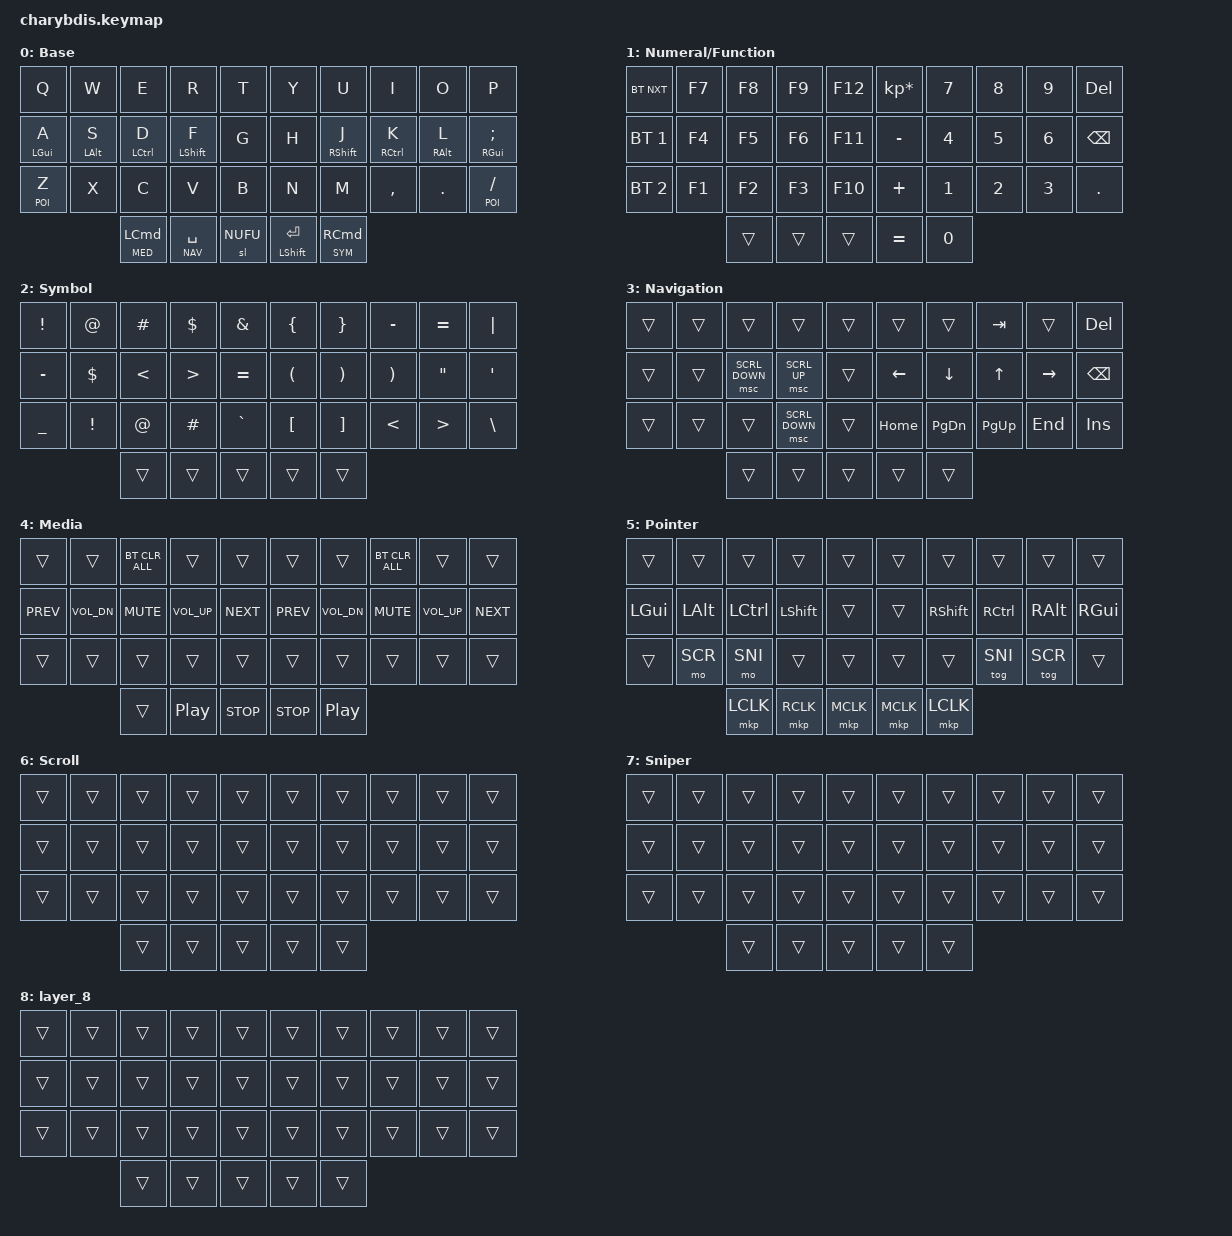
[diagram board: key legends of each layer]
#include <dt-bindings/zmk/mouse.h>
#include <behaviors/mouse_keys.dtsi>
#include <behaviors.dtsi>
#include <dt-bindings/zmk/bt.h>
#include <dt-bindings/zmk/keys.h>

#define BASE 0
#define NUFU 1
#define SYM 2
#define NAV 3
#define MED 4
#define POI 5
#define SCR 6
#define SNI 7

&sl { release-after-ms = <250>; };

&mt {
    tapping-term-ms = <200>;
    require-prior-idle-ms = <150>;
};

/ {
    chosen { zmk,matrix_transform = &five_column_transform; };

    #include "combos.dtsi"

    behaviors {
        hml: homewrow_mods_left {
            compatible = "zmk,behavior-hold-tap";
            label = "HOMEROW_MODS_LEFT_HAND";
            bindings = <&kp>, <&kp>;

            #binding-cells = <2>;
            tapping-term-ms = <280>;
            hold-trigger-key-positions = <5 6 7 8 9 15 16 17 18 19 25 26 27 28 29 33 34>;
            flavor = "balanced";
            quick-tap-ms = <175>;
            require-prior-idle-ms = <125>;
            hold-trigger-on-release;
        };

        hmr: homewrow_mods_right {
            compatible = "zmk,behavior-hold-tap";
            label = "HOMEROW_MODS_RIGHT_HAND";
            bindings = <&kp>, <&kp>;

            #binding-cells = <2>;
            tapping-term-ms = <280>;
            hold-trigger-key-positions = <0 1 2 3 4 10 11 12 13 14 20 21 22 23 24 30 31 32>;
            flavor = "balanced";
            quick-tap-ms = <175>;
            require-prior-idle-ms = <125>;
            hold-trigger-on-release;
        };
    };

    combos2 {
        compatible = "zmk,combos";

        esccombos2 {
            bindings = <&kp ESC>;
            key-positions = <0 1>;
        };

        tab {
            bindings = <&kp TAB>;
            key-positions = <10 11>;
        };

        backspace {
            bindings = <&kp BACKSPACE>;
            key-positions = <18 19>;
        };

        del {
            bindings = <&kp DELETE>;
            key-positions = <8 9>;
        };
    };

    keymap {
        compatible = "zmk,keymap";

        Base {
            label = "Base";
            bindings = <
  &kp Q        &kp W        &kp E                 &kp R          &kp T       &kp Y                  &kp U                  &kp I         &kp O        &kp P
  &hml LGUI A  &hml LALT S  &hml LCTRL D          &hml LSHFT F   &kp G       &kp H                  &hml RSHFT J           &hml RCTRL K  &hml RALT L  &hml RGUI SEMICOLON
  &lt POI Z    &kp X        &kp C                 &kp V          &kp B       &kp N                  &kp M                  &kp COMMA     &kp DOT      &lt POI SLASH
                            &lt MED LEFT_COMMAND  &lt NAV SPACE  &sl NUFU    &hml LEFT_SHIFT ENTER  &lt SYM RIGHT_COMMAND
            >;
        };

        NuFu {
            label = "Numeral/Function";
            bindings = <
  &bt BT_NXT    &kp F7  &kp F8  &kp F9  &kp F12    &kp KP_MULTIPLY  &kp N7  &kp N8  &kp N9  &kp DELETE
  &bt BT_SEL 1  &kp F4  &kp F5  &kp F6  &kp F11    &kp MINUS        &kp N4  &kp N5  &kp N6  &kp BACKSPACE
  &bt BT_SEL 2  &kp F1  &kp F2  &kp F3  &kp F10    &kp PLUS         &kp N1  &kp N2  &kp N3  &kp PERIOD
                        &trans  &trans  &trans     &kp EQUAL        &kp N0
            >;
        };

        Symbol {
            label = "Symbol";
            bindings = <
  &kp EXCL   &kp AT    &kp HASH       &kp DOLLAR        &kp AMPERSAND    &kp LEFT_BRACE        &kp RBRC               &kp MINUS      &kp EQUAL         &kp PIPE
  &kp MINUS  &kp DLLR  &kp LESS_THAN  &kp GREATER_THAN  &kp EQUAL        &kp LEFT_PARENTHESIS  &kp RIGHT_PARENTHESIS  &kp RPAR       &kp DQT           &kp APOS
  &kp UNDER  &kp EXCL  &kp AT         &kp HASH          &kp GRAVE        &kp LBKT              &kp RBKT               &kp LESS_THAN  &kp GREATER_THAN  &kp BSLH
                       &trans         &trans            &trans           &trans                &trans
            >;
        };

        Navigation {
            label = "Navigation";
            bindings = <
  &trans  &trans  &trans          &trans          &trans    &trans    &trans         &kp TAB      &trans     &kp DELETE
  &trans  &trans  &msc SCRL_DOWN  &msc SCRL_UP    &trans    &kp LEFT  &kp DOWN       &kp UP       &kp RIGHT  &kp BACKSPACE
  &trans  &trans  &trans          &msc SCRL_DOWN  &trans    &kp HOME  &kp PAGE_DOWN  &kp PAGE_UP  &kp END    &kp INS
                  &trans          &trans          &trans    &trans    &trans
            >;
        };

        Media {
            label = "Media";
            bindings = <
  &trans      &trans        &bt BT_CLR_ALL  &trans            &trans        &trans      &trans            &bt BT_CLR_ALL  &trans        &trans
  &kp C_PREV  &kp C_VOL_DN  &kp C_MUTE      &kp C_VOL_UP      &kp C_NEXT    &kp C_PREV  &kp C_VOL_DN      &kp C_MUTE      &kp C_VOL_UP  &kp C_NEXT
  &trans      &trans        &trans          &trans            &trans        &trans      &trans            &trans          &trans        &trans
                            &trans          &kp C_PLAY_PAUSE  &kp C_STOP    &kp C_STOP  &kp C_PLAY_PAUSE
            >;
        };

        Pointer {
            label = "Pointer";
            bindings = <
  &trans    &trans    &trans     &trans     &trans       &trans     &trans     &trans     &trans    &trans
  &kp LGUI  &kp LALT  &kp LCTRL  &kp LSHFT  &trans       &trans     &kp RSHFT  &kp RCTRL  &kp RALT  &kp RGUI
  &trans    &mo SCR   &mo SNI    &trans     &trans       &trans     &trans     &tog SNI   &tog SCR  &trans
                      &mkp LCLK  &mkp RCLK  &mkp MCLK    &mkp MCLK  &mkp LCLK
            >;
        };

        Scroll {
            label = "Scroll";
            bindings = <
  &trans  &trans  &trans  &trans  &trans    &trans  &trans  &trans  &trans  &trans
  &trans  &trans  &trans  &trans  &trans    &trans  &trans  &trans  &trans  &trans
  &trans  &trans  &trans  &trans  &trans    &trans  &trans  &trans  &trans  &trans
                  &trans  &trans  &trans    &trans  &trans
            >;
        };

        Sniper {
            label = "Sniper";
            bindings = <
  &trans  &trans  &trans  &trans  &trans    &trans  &trans  &trans  &trans  &trans
  &trans  &trans  &trans  &trans  &trans    &trans  &trans  &trans  &trans  &trans
  &trans  &trans  &trans  &trans  &trans    &trans  &trans  &trans  &trans  &trans
                  &trans  &trans  &trans    &trans  &trans
            >;
        };

        layer_8 {
            bindings = <
  &trans  &trans  &trans  &trans  &trans    &trans  &trans  &trans  &trans  &trans
  &trans  &trans  &trans  &trans  &trans    &trans  &trans  &trans  &trans  &trans
  &trans  &trans  &trans  &trans  &trans    &trans  &trans  &trans  &trans  &trans
                  &trans  &trans  &trans    &trans  &trans
            >;
        };
    };
};
